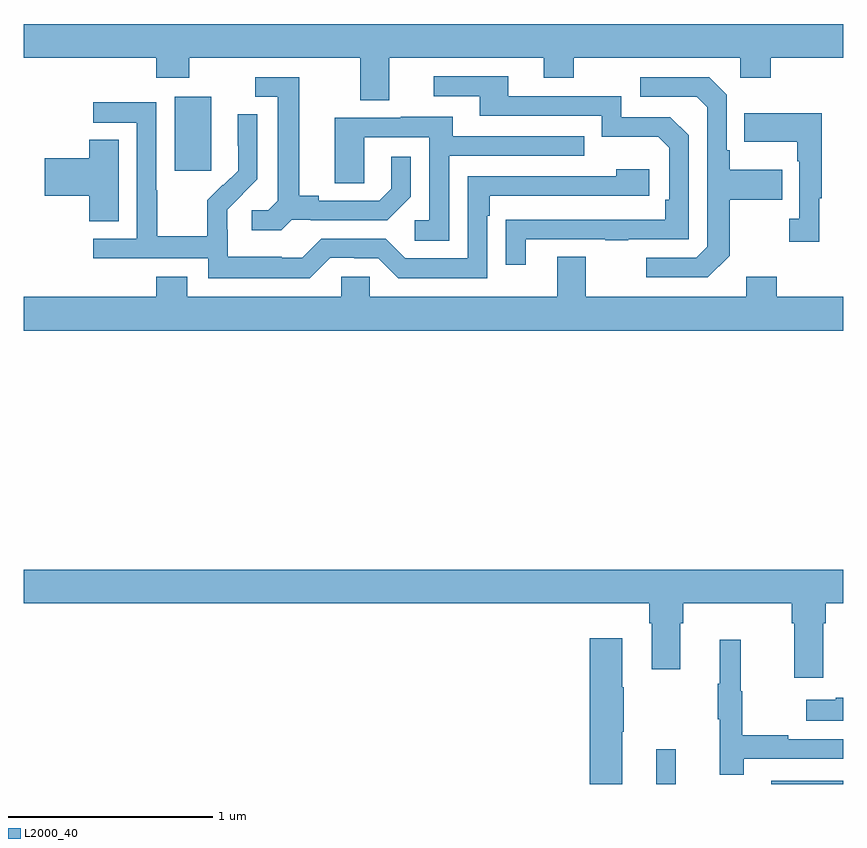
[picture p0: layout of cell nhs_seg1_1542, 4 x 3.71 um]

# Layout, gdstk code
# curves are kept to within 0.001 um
import gdstk
lib = gdstk.Library(unit=1e-6, precision=1e-09)
def R(c, l, rs):  # rectangles x0, y0, x1, y1
    for r in rs: c.add(gdstk.rectangle(r[:2], r[2:], *l))
def P(c, l, *ps):  # polygons
    for p in ps: c.add(gdstk.Polygon(p, *l))
L2000_40 = (2000, 40)

nhs_seg1_1542 = lib.new_cell('nhs_seg1_1542')
R(nhs_seg1_1542, L2000_40, [(198.086,536.199,198.183,536.368), (198.648,536.199,199,536.214), (195.737,539.193,195.916,539.554)])
P(nhs_seg1_1542, L2000_40, [(196.783,539.744),(197.537,539.744),(197.537,539.645),(197.685,539.645),(197.685,539.744),(198.498,539.744),(198.498,539.645),(198.645,539.645),(198.645,539.744),(199,539.744),(199,539.908),(195,539.908),(195,539.744),(195.647,539.744),(195.647,539.645),(195.807,539.645),(195.807,539.744),(196.643,539.744),(196.643,539.536),(196.783,539.536)],
  [(197.449,538.857),(197.839,538.857),(197.839,538.852),(197.951,538.852),(197.951,538.857),(198.246,538.857),(198.246,539.364),(198.156,539.454),(197.916,539.454),(197.916,539.556),(197.365,539.556),(197.365,539.652),(197.001,539.652),(197.001,539.556),(197.225,539.556),(197.225,539.46),(197.82,539.46),(197.82,539.357),(198.097,539.357),(198.15,539.304),(198.15,539.05),(198.13,539.05),(198.13,538.953),(197.353,538.952),(197.353,538.734),(197.449,538.734)],
  [(198.445,538.777),(198.445,539.05),(198.701,539.05),(198.701,539.197),(198.445,539.197),(198.445,539.293),(198.432,539.293),(198.432,539.562),(198.345,539.649),(198.009,539.649),(198.009,539.553),(198.285,539.553),(198.336,539.502),(198.336,538.821),(198.282,538.767),(198.039,538.767),(198.039,538.671),(198.339,538.671)],
  [(196.308,538.953),(196.402,538.953),(196.402,538.95),(196.774,538.95),(196.89,539.066),(196.89,539.26),(196.793,539.26),(196.793,539.103),(196.736,539.046),(196.441,539.046),(196.441,539.069),(196.345,539.069),(196.345,539.649),(196.131,539.649),(196.131,539.553),(196.241,539.553),(196.241,539.045),(196.194,538.998),(196.113,538.998),(196.113,538.901),(196.256,538.901)],
  [(196.497,538.767),(196.613,538.767),(196.613,538.764),(196.731,538.764),(196.827,538.668),(197.262,538.668),(197.262,538.973),(197.275,538.973),(197.275,539.07),(198.052,539.07),(198.052,539.2),(197.891,539.2),(197.891,539.166),(197.166,539.166),(197.166,538.764),(196.863,538.764),(196.767,538.86),(196.452,538.86),(196.359,538.767),(196.259,538.767),(196.259,538.771),(195.996,538.771),(195.996,538.905),(195.994,538.905),(195.994,539.002),(196.14,539.15),(196.14,539.468),(196.044,539.468),(196.044,539.314),(196.046,539.314),(196.046,539.192),(195.975,539.121),(195.972,539.124),(195.895,539.047),(195.895,538.873),(195.651,538.873),(195.651,539.096),(195.648,539.096),(195.648,539.526),(195.339,539.526),(195.339,539.427),(195.552,539.427),(195.552,538.86),(195.339,538.86),(195.339,538.764),(195.9,538.764),(195.9,538.667),(196.397,538.667)],
  [(198.883,539.057),(198.895,539.057),(198.895,539.473),(198.517,539.473),(198.517,539.333),(198.774,539.333),(198.774,539.237),(198.786,539.237),(198.786,538.958),(198.735,538.958),(198.735,538.845),(198.883,538.845)],
  [(197.076,539.265),(197.735,539.265),(197.735,539.361),(197.095,539.361),(197.095,539.455),(196.841,539.455),(196.841,539.451),(196.517,539.451),(196.517,539.131),(196.662,539.131),(196.662,539.355),(196.98,539.355),(196.98,538.95),(196.908,538.95),(196.908,538.849),(197.076,538.849)],
  [(195.463,539.342),(195.32,539.342),(195.32,539.252),(195.102,539.252),(195.102,539.069),(195.32,539.069),(195.32,538.945),(195.463,538.945)],
  [(199,538.576),(198.675,538.576),(198.675,538.675),(198.527,538.675),(198.527,538.576),(197.743,538.576),(197.743,538.771),(197.603,538.771),(197.603,538.576),(196.689,538.576),(196.689,538.674),(196.551,538.674),(196.551,538.576),(195.799,538.576),(195.799,538.675),(195.647,538.675),(195.647,538.576),(195,538.576),(195,538.412),(199,538.412)],
  [(198.901,536.984),(198.914,536.984),(198.914,537.08),(199,537.08),(199,537.244),(195,537.244),(195,537.08),(198.053,537.08),(198.053,536.984),(198.065,536.984),(198.065,536.76),(198.205,536.76),(198.205,536.984),(198.218,536.984),(198.218,537.08),(198.749,537.08),(198.749,536.984),(198.761,536.984),(198.761,536.718),(198.901,536.718)],
  [(197.92,536.455),(197.928,536.455),(197.928,536.672),(197.92,536.672),(197.92,536.911),(197.762,536.911),(197.762,536.199),(197.92,536.199)],
  [(198.515,536.322),(199,536.322),(199,536.418),(198.731,536.418),(198.731,536.438),(198.508,536.438),(198.508,536.652),(198.5,536.652),(198.5,536.902),(198.398,536.902),(198.398,536.689),(198.387,536.689),(198.387,536.515),(198.398,536.515),(198.398,536.244),(198.515,536.244)],
  [(199,536.621),(198.962,536.621),(198.962,536.611),(198.819,536.611),(198.819,536.507),(199,536.507)])

lib.write_gds('nhs_seg1_1542.gds')
